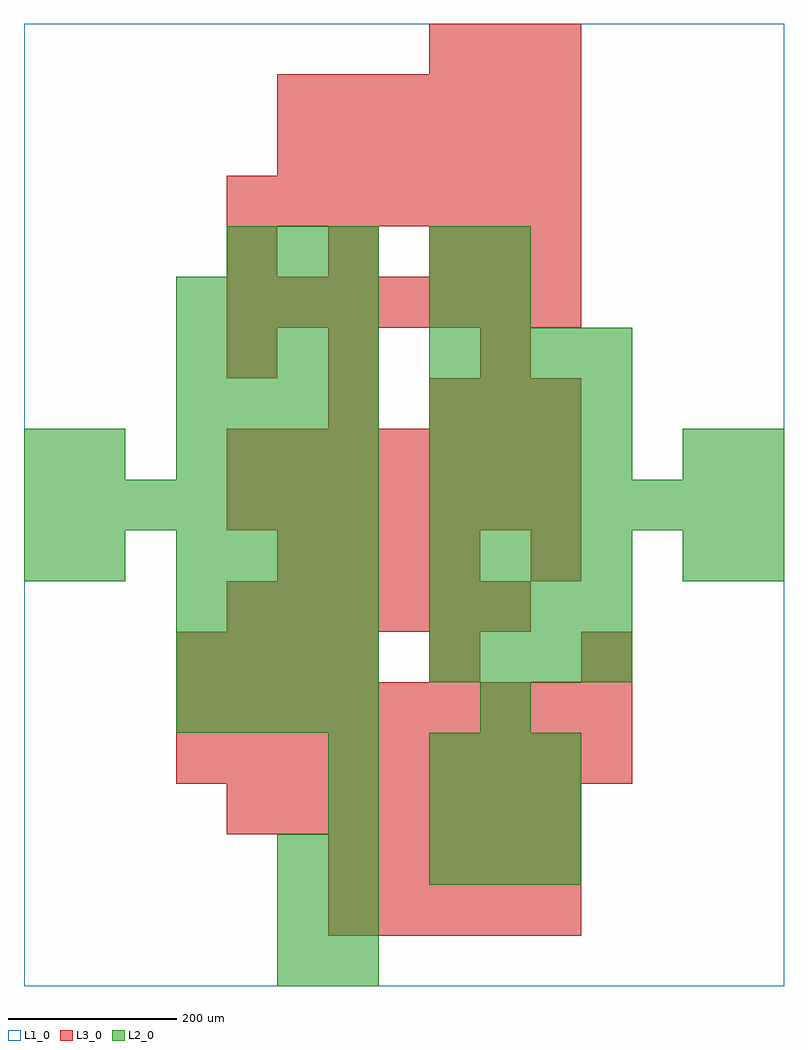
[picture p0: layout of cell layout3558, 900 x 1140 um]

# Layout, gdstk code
import gdstk
lib = gdstk.Library(unit=1e-6, precision=1e-09)
def R(c, l, rs):  # rectangles x0, y0, x1, y1
    for r in rs: c.add(gdstk.rectangle(r[:2], r[2:], *l))
def A(c, l, x, y, w, h, nx, ny, dx, dy):  # array of equal rectangles
    R(c, l, [(x+i*dx, y+j*dy, x+i*dx+w, y+j*dy+h) for i in range(nx) for j in range(ny)])
L1_0 = (1, 0)
L2_0 = (2, 0)
L3_0 = (3, 0)

layout3558 = lib.new_cell('layout3558')
R(layout3558, L1_0, [(0,0,900,1140)])
A(layout3558, L2_0, 300, 0, 60, 60, 1, 3, 0, 60)
A(layout3558, L2_0, 360, 0, 60, 60, 1, 5, 0, 60)
A(layout3558, L2_0, 480, 120, 60, 60, 3, 3, 60, 60)
A(layout3558, L2_0, 180, 300, 60, 60, 4, 4, 60, 60)
A(layout3558, L2_0, 480, 360, 60, 60, 4, 3, 60, 60)
A(layout3558, L2_0, 0, 540, 60, 60, 7, 1, 60, 0)
A(layout3558, L2_0, 480, 540, 60, 60, 7, 1, 60, 0)
A(layout3558, L2_0, 180, 600, 60, 60, 4, 4, 60, 60)
A(layout3558, L2_0, 480, 600, 60, 60, 4, 3, 60, 60)
A(layout3558, L2_0, 240, 840, 60, 60, 3, 1, 60, 0)
R(layout3558, L2_0, [(540,300,600,360), (0,480,60,540), (60,480,120,540), (780,480,840,540), (840,480,900,540), (0,600,60,660), (60,600,120,660), (780,600,840,660), (840,600,900,660), (480,780,540,840), (540,780,600,840), (480,840,540,900), (540,840,600,900)])
A(layout3558, L3_0, 360, 60, 60, 60, 5, 2, 60, 60)
A(layout3558, L3_0, 240, 180, 60, 60, 7, 2, 60, 360)
A(layout3558, L3_0, 180, 240, 60, 60, 9, 2, 60, 60)
A(layout3558, L3_0, 180, 360, 60, 60, 4, 1, 60, 0)
A(layout3558, L3_0, 240, 420, 60, 60, 6, 1, 60, 0)
A(layout3558, L3_0, 300, 480, 60, 60, 4, 1, 60, 0)
A(layout3558, L3_0, 240, 600, 60, 60, 7, 2, 60, 180)
A(layout3558, L3_0, 480, 660, 60, 60, 3, 2, 60, 420)
A(layout3558, L3_0, 240, 840, 60, 60, 3, 1, 120, 0)
A(layout3558, L3_0, 240, 900, 60, 60, 7, 1, 60, 0)
A(layout3558, L3_0, 300, 960, 60, 60, 6, 2, 60, 60)
R(layout3558, L3_0, [(480,360,540,420), (660,360,720,420), (600,480,660,540), (360,660,420,720), (240,720,300,780), (360,720,420,780), (540,720,600,780), (540,840,600,900), (600,840,660,900)])

lib.write_gds('layout3558.gds')
